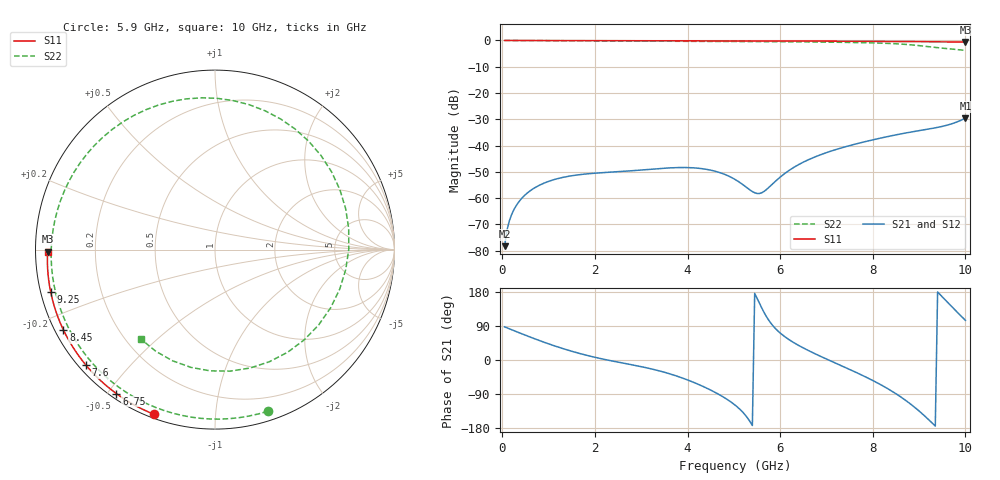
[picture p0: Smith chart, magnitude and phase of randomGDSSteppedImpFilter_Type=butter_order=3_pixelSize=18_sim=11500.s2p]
! freq	dB(S11)	phase(S11)	dB(S12)	phase(S12)
!  dB(S21)	phase(S21)	dB(S22)	phase(S22)
!S-par simulation data
#  GHz  S  DB  R 50
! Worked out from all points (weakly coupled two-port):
!   200 points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, 50 MHz to 10 GHz, reference 50 ohm
!   highest |S21| = -29.57 dB at 10 GHz (marker M1); lowest = -78.3 dB at 50 MHz (marker M2)
!   lowest |S11| = -0.6 dB at 10 GHz (marker M3), VSWR 28.64, Z = 1.75 - j0.294 ohm
!   |S11| at or under -10 dB: nowhere
!   |S22| runs from -3.8 to 0.0 dB; largest |S21 - S12| = 0
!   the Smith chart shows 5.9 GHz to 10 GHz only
!   S11 on the Smith chart (normalised r, x): 5.9 GHz: 0.02, -0.69; 6.75 GHz: 0.02, -0.53; 7.6 GHz: 0.02, -0.38; 8.45 GHz: 0.02, -0.25; 9.25 GHz: 0.03, -0.13; 10 GHz: 0.03, -0.01
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0.05  -0.00 -1.0  -78.29 87.4  -78.29 87.4  -0.00 -4.0
0.2  -0.01 -4.1  -66.32 80.0  -66.32 80.0  -0.02 -16.0
0.5  -0.01 -10.3  -58.67 65.4  -58.67 65.4  -0.06 -39.4
1.1  -0.03 -22.4  -53.05 38.4  -53.05 38.4  -0.10 -84.0
1.75  -0.05 -35.4  -50.91 14.6  -50.91 14.6  -0.14 -128.4
2.6  -0.07 -51.9  -49.83 -8.0  -49.83 -8.0  -0.19 176.6
3.4  -0.09 -66.9  -48.74 -29.0  -48.74 -29.0  -0.25 122.1
4.15  -0.11 -80.5  -48.51 -59.9  -48.51 -59.9  -0.34 64.5
4.6  -0.13 -88.4  -49.78 -85.7  -49.78 -85.7  -0.38 27.6
5.05  -0.15 -96.1  -53.15 -121.3  -53.15 -121.3  -0.41 -9.1
5.5  -0.17 -103.8  -58.23 163.5  -58.23 163.5  -0.44 -43.6
5.9  -0.19 -110.4  -53.56 82.8  -53.56 82.8  -0.47 -71.9
6.7  -0.24 -123.6  -44.70 19.6  -44.70 19.6  -0.57 -122.3
6.75  -0.24 -124.4  -44.33 16.6  -44.33 16.6  -0.58 -125.3
7.6  -0.31 -138.2  -39.55 -30.5  -39.55 -30.5  -0.78 -177.0
8.35  -0.38 -150.4  -36.47 -77.6  -36.47 -77.6  -1.14 125.9
8.45  -0.39 -152.1  -36.11 -85.1  -36.11 -85.1  -1.22 116.3
8.85  -0.44 -158.8  -34.77 -119.5  -34.77 -119.5  -1.70 70.2
9.25  -0.49 -165.6  -33.58 -162.5  -33.58 -162.5  -2.45 8.9
9.45  -0.52 -169.1  -32.90 173.2  -32.90 173.2  -2.84 -26.8
9.65  -0.54 -172.7  -32.02 147.9  -32.02 147.9  -3.17 -64.0
10  -0.61 -179.3  -29.57 104.8  -29.57 104.8  -3.78 -129.4
